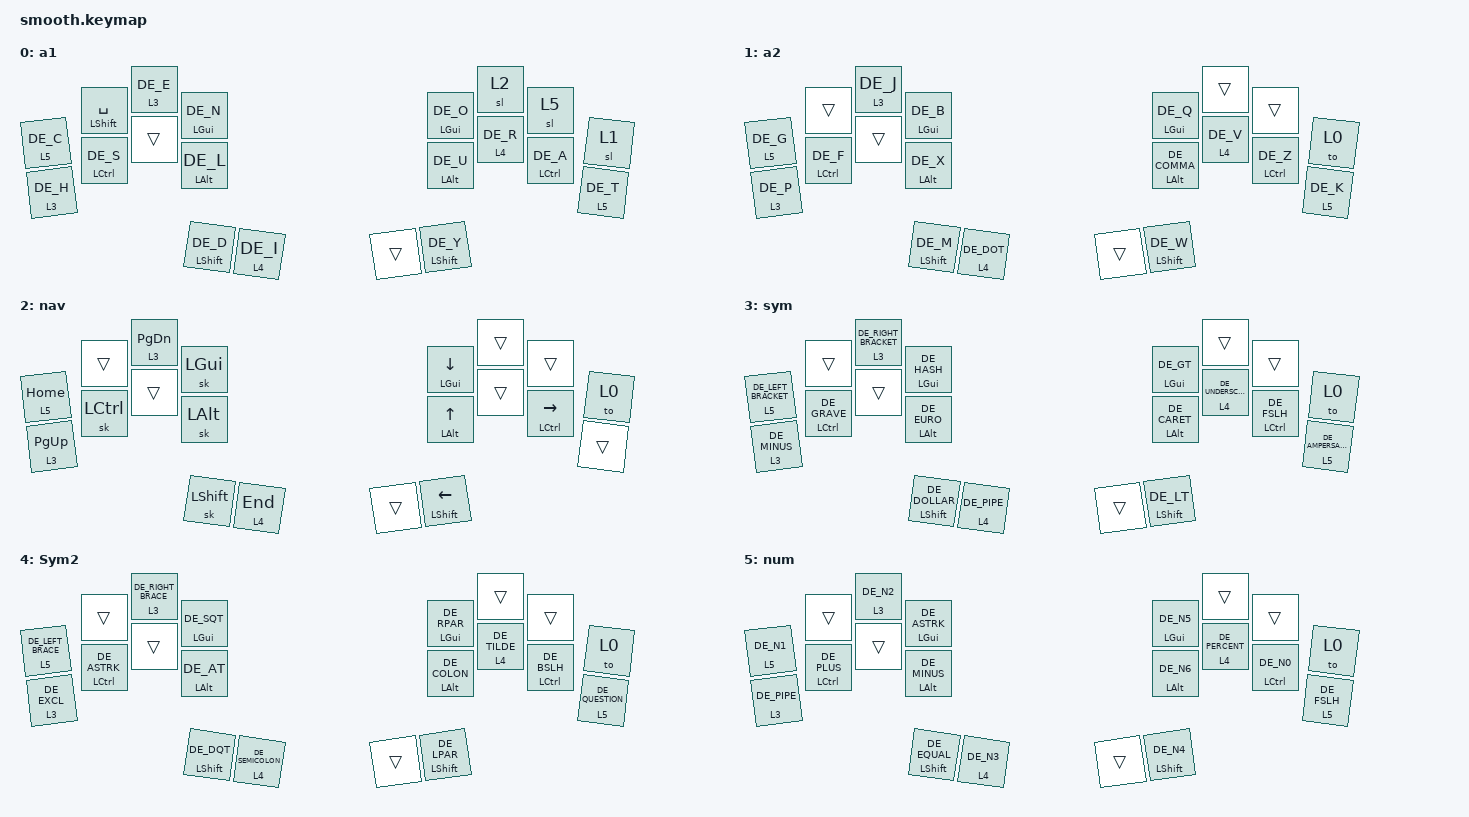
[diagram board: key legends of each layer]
#include <behaviors.dtsi>
#include <dt-bindings/zmk/keys.h>
#include "keys_de.h"

/ {
    combos {
        compatible = "zmk,combos";

        combo_rl {
            bindings = <&macro_rl>;
            key-positions = <1 9>;
            layers = <0>;
            timeout-ms = <30>;
        };

        combo_hn {
            bindings = <&macro_hn>;
            key-positions = <2 10>;
            layers = <0>;
            timeout-ms = <30>;
        };

        combo_dt {
            bindings = <&macro_dt>;
            key-positions = <3 11>;
            layers = <0>;
            timeout-ms = <30>;
        };

        combo_cy {
            bindings = <&macro_cy>;
            key-positions = <4 12>;
            layers = <0>;
            timeout-ms = <30>;
        };

        combo_eo {
            bindings = <&macro_eo>;
            key-positions = <5 13>;
            layers = <0>;
            timeout-ms = <30>;
        };

        combo_ui {
            bindings = <&macro_ui>;
            key-positions = <6 14>;
            layers = <0>;
            timeout-ms = <30>;
        };

        combo_lr {
            bindings = <&macro_lr>;
            key-positions = <1 9>;
            layers = <1>;
            timeout-ms = <30>;
        };

        combo_nb {
            bindings = <&macro_nb>;
            key-positions = <2 10>;
            layers = <1>;
            timeout-ms = <30>;
        };

        combo_mt {
            bindings = <&macro_mt>;
            key-positions = <3 11>;
            layers = <1>;
            timeout-ms = <30>;
        };

        combo_gy {
            bindings = <&macro_gy>;
            key-positions = <4 12>;
            layers = <1>;
            timeout-ms = <30>;
        };

        combo_oe {
            bindings = <&macro_oe>;
            key-positions = <5 13>;
            layers = <1>;
            timeout-ms = <30>;
        };

        combo_iu {
            bindings = <&macro_iu>;
            key-positions = <6 14>;
            layers = <1>;
            timeout-ms = <30>;
        };

        combo_lbrc {
            bindings = <&kp DE_LBRC>;
            key-positions = <1 9>;
            timeout-ms = <30>;
            layers = <3>;
        };

        combo_lbrk {
            bindings = <&kp DE_LEFT_BRACKET>;
            key-positions = <2 10>;
            timeout-ms = <30>;
            layers = <3>;
        };

        combo_lpar {
            bindings = <&kp DE_LPAR>;
            key-positions = <3 11>;
            timeout-ms = <30>;
            layers = <3>;
        };

        combo_rpar {
            bindings = <&kp DE_RPAR>;
            key-positions = <4 12>;
            timeout-ms = <30>;
            layers = <3>;
        };

        combo_rbrk {
            bindings = <&kp DE_RIGHT_BRACKET>;
            key-positions = <5 13>;
            timeout-ms = <30>;
            layers = <3>;
        };

        combo_rbrc {
            bindings = <&kp DE_RBRC>;
            key-positions = <6 14>;
            timeout-ms = <30>;
            layers = <3>;
        };

        combo_lt {
            bindings = <&kp DE_LESS_THAN>;
            key-positions = <2 11>;
            timeout-ms = <30>;
            layers = <3 2>;
        };

        combo_gt {
            bindings = <&kp DE_GT>;
            key-positions = <5 12>;
            timeout-ms = <30>;
            layers = <3 2>;
        };

        combo_fslsh {
            bindings = <&kp DE_FSLH>;
            key-positions = <2 9>;
            timeout-ms = <30>;
            layers = <3 0 1 2>;
        };

        combo_bslsh {
            bindings = <&kp DE_BACKSLASH>;
            key-positions = <5 14>;
            timeout-ms = <30>;
            layers = <3 0 1 2>;
        };

        combo_tab {
            bindings = <&kp TAB>;
            key-positions = <2 1>;
            timeout-ms = <30>;
        };

        combo_rtn {
            bindings = <&kp RETURN>;
            key-positions = <3 2>;
            timeout-ms = <30>;
        };

        combo_bspc {
            bindings = <&kp BSPC>;
            key-positions = <5 6>;
            timeout-ms = <30>;
            layers = <0 1 2>;
        };

        combo_cbspc {
            bindings = <&kp LC(BSPC)>;
            key-positions = <4 5>;
            timeout-ms = <30>;
        };

        combo_esc {
            bindings = <&kp ESC>;
            key-positions = <4 6 5>;
            timeout-ms = <30>;
        };

        combo_stdio {
            bindings = <&studio_unlock>;
            key-positions = <9 10 11>;
            layers = <3>;
            timeout-ms = <50>;
            require-prior-idle-ms = <200>;
        };

        combo_minus {
            bindings = <&kp DE_MINUS>;
            key-positions = <12 14>;
            timeout-ms = <30>;
        };

        combo_7 {
            bindings = <&kp DE_N7>;
            key-positions = <4 12>;
            layers = <4>;
            timeout-ms = <30>;
        };

        combo_8 {
            bindings = <&kp DE_N8>;
            key-positions = <5 13>;
            layers = <4>;
            timeout-ms = <30>;
        };

        combo_9 {
            bindings = <&kp DE_N9>;
            key-positions = <6 14>;
            layers = <4>;
            timeout-ms = <30>;
        };

        combo_question {
            bindings = <&kp DE_QMARK>;
            key-positions = <0 1>;
            timeout-ms = <30>;
            layers = <3>;
        };

        combo_rpt {
            bindings = <&sk LEFT_SHIFT>;
            key-positions = <11 10>;
            timeout-ms = <40>;
        };

        xombo_repeat_r {
            bindings = <&sk LEFT_SHIFT>;
            key-positions = <12 13>;
            timeout-ms = <40>;
        };
    };

    macros {
        macro_rl: macro_rl {
            compatible = "zmk,behavior-macro";
            #binding-cells = <0>;
            bindings = <&kp DE_R &kp DE_L>;
            label = "MACRO_RL";
        };

        macro_hn: hn {
            compatible = "zmk,behavior-macro";
            #binding-cells = <0>;
            bindings = <&kp DE_H &kp DE_N>;
            label = "HN";
        };

        macro_dt: dt {
            compatible = "zmk,behavior-macro";
            #binding-cells = <0>;
            bindings = <&kp DE_D &kp DE_T>;
            label = "DT";
        };

        macro_cy: cy {
            compatible = "zmk,behavior-macro";
            #binding-cells = <0>;
            bindings = <&kp DE_C &kp DE_Y>;
            label = "CY";
        };

        macro_eo: eo {
            compatible = "zmk,behavior-macro";
            #binding-cells = <0>;
            bindings = <&kp DE_E &kp DE_O>;
            label = "EO";
        };

        macro_ui: ui {
            compatible = "zmk,behavior-macro";
            #binding-cells = <0>;
            bindings = <&kp DE_U &kp DE_I>;
            label = "UI";
        };

        macro_lr: lr {
            compatible = "zmk,behavior-macro";
            #binding-cells = <0>;
            bindings = <&kp DE_L &kp DE_R>;
            label = "LR";
        };

        macro_nb: nb {
            compatible = "zmk,behavior-macro";
            #binding-cells = <0>;
            bindings = <&kp DE_N &kp DE_B>;
            label = "NB";
        };

        macro_mt: mt_macro {
            compatible = "zmk,behavior-macro";
            #binding-cells = <0>;
            bindings = <&kp DE_M &kp DE_T>;
            label = "MT_MACRO";
        };

        macro_gy: gy {
            compatible = "zmk,behavior-macro";
            #binding-cells = <0>;
            bindings = <&kp DE_G &kp DE_Y>;
            label = "GY";
        };

        macro_oe: oe {
            compatible = "zmk,behavior-macro";
            #binding-cells = <0>;
            bindings = <&kp DE_O &kp DE_E>;
            label = "OE";
        };

        macro_iu: iu {
            compatible = "zmk,behavior-macro";
            #binding-cells = <0>;
            bindings = <&kp DE_I &kp DE_U>;
            label = "IU";
        };
    };

    behaviors {
        hml: hml {
            compatible = "zmk,behavior-hold-tap";
            label = "HML";
            bindings = <&kp>, <&kp>;

            #binding-cells = <2>;
            hold-trigger-key-positions = <4 5 6 7 12 13 14 15 19 18>;
            tapping-term-ms = <150>;
            hold-trigger-on-release;
            flavor = "balanced";
        };

        hmr: hmr {
            compatible = "zmk,behavior-hold-tap";
            label = "HMR";
            bindings = <&kp>, <&kp>;

            #binding-cells = <2>;
            tapping-term-ms = <150>;
            hold-trigger-on-release;
            hold-trigger-key-positions = <0 3 8 9 10 11 16 17 2 1>;
            flavor = "balanced";
        };

        lt_r4: lt_r4 {
            compatible = "zmk,behavior-hold-tap";
            label = "LT_R2";
            bindings = <&mo>, <&kp>;

            #binding-cells = <2>;
            flavor = "tap-preferred";
            require-prior-idle-ms = <50>;
            tapping-term-ms = <150>;
        };
    };

    keymap {
        compatible = "zmk,keymap";

        a1 {
            bindings = <
&hml LCTRL DE_S  &hml LEFT_ALT DE_L  &hml LEFT_GUI DE_N  &hml LEFT_SHIFT DE_D                                   &hmr LEFT_SHIFT DE_Y  &hmr LEFT_GUI DE_O  &hmr LEFT_ALT DE_U  &hmr LCTRL DE_A
&trans           &lt_r4 4 DE_R       &lt_r4 3 DE_H       &lt_r4 5 DE_T                                          &lt_r4 5 DE_C         &lt_r4 3 DE_E       &lt_r4 4 DE_I       &trans
                                                         &sl 2                 &sl 1      &mt LEFT_SHIFT SPACE  &sl 5
            >;
        };

        a2 {
            bindings = <
&hml LEFT_CONTROL DE_F  &hml LEFT_ALT DE_X  &hml LEFT_GUI DE_B  &hml LEFT_SHIFT DE_M                     &hmr LEFT_SHIFT DE_W  &hmr LEFT_GUI DE_Q  &hmr LEFT_ALT DE_COMMA  &hmr LEFT_CONTROL DE_Z
&trans                  &lt_r4 4 DE_V       &lt_r4 3 DE_P       &lt_r4 5 DE_K                            &lt_r4 5 DE_G         &lt_r4 3 DE_J       &lt_r4 4 DE_DOT         &trans
                                                                &trans                &to 0      &trans  &trans
            >;

            label = "a2";
        };

        nav {
            bindings = <
&sk LCTRL  &sk LALT  &sk LGUI        &sk LSHFT                     &hmr LEFT_SHIFT LEFT_ARROW  &hmr LEFT_GUI DOWN  &hmr LEFT_ALT UP  &hmr LCTRL RIGHT
&trans     &trans    &lt_r4 3 PG_UP  &trans                        &lt_r4 5 HOME               &lt_r4 3 PG_DN      &lt_r4 4 END      &trans
                                     &trans     &to 0      &trans  &trans
            >;

            label = "nav";
        };

        sym {
            bindings = <
&hml LCTRL DE_GRAVE  &hml LEFT_ALT DE_EURO   &hml LEFT_GUI DE_HASH  &hml LEFT_SHIFT DE_DOLLAR                     &hmr LEFT_SHIFT DE_LT     &hmr LEFT_GUI DE_GT        &hmr LEFT_ALT DE_CARET  &hmr LCTRL DE_FSLH
&trans               &lt_r4 4 DE_UNDERSCORE  &lt_r4 3 DE_MINUS      &lt_r4 5 DE_AMPERSAND                         &lt_r4 5 DE_LEFT_BRACKET  &lt_r4 3 DE_RIGHT_BRACKET  &lt_r4 4 DE_PIPE        &trans
                                                                    &trans                     &to 0      &trans  &trans
            >;

            label = "sym";
        };

        sym2 {
            label = "Sym2";
            bindings = <
&hml LCTRL DE_ASTRK  &hml LEFT_ALT DE_AT  &hml LEFT_GUI DE_SQT  &hml LEFT_SHIFT DE_DQT                     &hmr LEFT_SHIFT DE_LPAR  &hmr LEFT_GUI DE_RPAR    &hmr LEFT_ALT DE_COLON  &hmr LCTRL DE_BSLH
&trans               &lt_r4 4 DE_TILDE    &lt_r4 3 DE_EXCL      &lt_r4 5 DE_QUESTION                       &lt_r4 5 DE_LEFT_BRACE   &lt_r4 3 DE_RIGHT_BRACE  &lt_r4 4 DE_SEMICOLON   &trans
                                                                &trans                  &to 0      &trans  &trans
            >;
        };

        num {
            bindings = <
&hml LCTRL DE_PLUS  &hml LEFT_ALT DE_MINUS  &hml LEFT_GUI DE_ASTRK  &hml LEFT_SHIFT DE_EQUAL                     &hmr LEFT_SHIFT DE_N4  &hmr LEFT_GUI DE_N5  &hmr LEFT_ALT DE_N6  &hmr LCTRL DE_N0
&trans              &lt_r4 4 DE_PERCENT     &lt_r4 3 DE_PIPE        &lt_r4 5 DE_FSLH                             &lt_r4 5 DE_N1         &lt_r4 3 DE_N2       &lt_r4 4 DE_N3       &trans
                                                                    &trans                    &to 0      &trans  &trans
            >;
        };
    };
};
